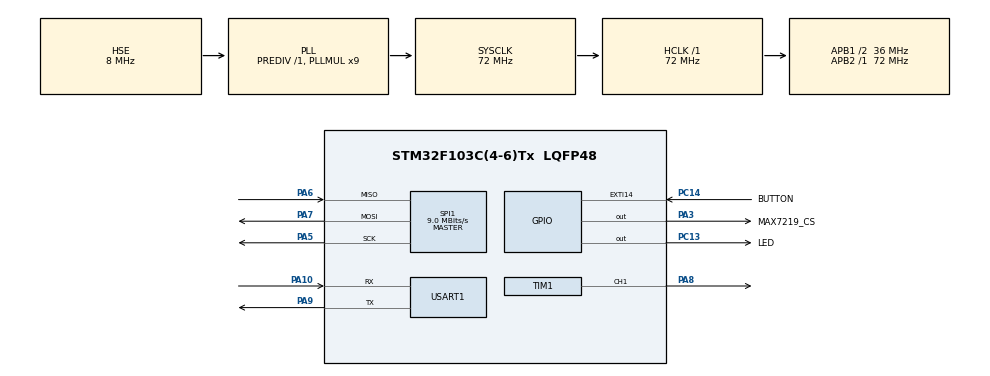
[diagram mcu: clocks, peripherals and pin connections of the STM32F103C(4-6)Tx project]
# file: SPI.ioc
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Mcu.Family=STM32F1
Mcu.Name=STM32F103C(4-6)Tx
Mcu.Package=LQFP48
NVIC.EXTI15_10_IRQn=true\:0\:0\:false\:false\:true\:true\:true\:true
NVIC.PriorityGroup=NVIC_PRIORITYGROUP_4
NVIC.SPI1_IRQn=true\:0\:0\:false\:false\:true\:true\:true\:true
NVIC.TIM1_CC_IRQn=true\:0\:0\:false\:false\:true\:true\:true\:true
NVIC.TIM1_UP_IRQn=true\:0\:0\:false\:false\:true\:true\:true\:true
NVIC.USART1_IRQn=true\:0\:0\:false\:false\:true\:true\:true\:true
PA10.Mode=Asynchronous
PA10.Signal=USART1_RX
PA13.Mode=Trace_Asynchronous_SW
PA13.Signal=SYS_JTMS-SWDIO
PA14.Mode=Trace_Asynchronous_SW
PA14.Signal=SYS_JTCK-SWCLK
PA3.GPIO_Label=MAX7219_CS
PA3.PinState=GPIO_PIN_SET
PA3.Signal=GPIO_Output
PA5.Mode=Full_Duplex_Master
PA5.Signal=SPI1_SCK
PA6.Mode=Full_Duplex_Master
PA6.Signal=SPI1_MISO
PA7.Mode=Full_Duplex_Master
PA7.Signal=SPI1_MOSI
PA8.Signal=S_TIM1_CH1
PA9.Mode=Asynchronous
PA9.Signal=USART1_TX
PB3.Mode=Trace_Asynchronous_SW
PB3.Signal=SYS_JTDO-TRACESWO
PC13-TAMPER-RTC.GPIO_Label=LED
PC13-TAMPER-RTC.Signal=GPIO_Output
PC14-OSC32_IN.GPIO_Label=BUTTON
PC14-OSC32_IN.GPIO_ModeDefaultEXTI=GPIO_MODE_IT_FALLING
PC14-OSC32_IN.GPIO_PuPd=GPIO_PULLUP
PC14-OSC32_IN.Signal=GPXTI14
PD0-OSC_IN.Mode=HSE-External-Oscillator
PD0-OSC_IN.Signal=RCC_OSC_IN
PD1-OSC_OUT.Mode=HSE-External-Oscillator
PD1-OSC_OUT.Signal=RCC_OSC_OUT
ProjectManager.HeapSize=0x200
ProjectManager.StackSize=0x400
ProjectManager.TargetToolchain=STM32CubeIDE
RCC.AHBFreq_Value=72000000
RCC.APB1CLKDivider=RCC_HCLK_DIV2
RCC.APB1Freq_Value=36000000
RCC.APB1TimFreq_Value=72000000
RCC.APB2Freq_Value=72000000
RCC.APB2TimFreq_Value=72000000
RCC.HCLKFreq_Value=72000000
RCC.PLLMUL=RCC_PLL_MUL9
RCC.PLLSourceVirtual=RCC_PLLSOURCE_HSE
RCC.RCC_MCOSource=RCC_MCO1SOURCE_PLLCLK
RCC.SYSCLKFreq_VALUE=72000000
RCC.SYSCLKSource=RCC_SYSCLKSOURCE_PLLCLK
RCC.USBFreq_Value=72000000
SH.S_TIM1_CH1.0=TIM1_CH1,PWM Generation1 CH1
SPI1.BaudRatePrescaler=SPI_BAUDRATEPRESCALER_8
SPI1.CalculateBaudRate=9.0 MBits/s
SPI1.Direction=SPI_DIRECTION_2LINES
SPI1.Mode=SPI_MODE_MASTER
SPI1.VirtualType=VM_MASTER
TIM1.Channel-PWM\ Generation1\ CH1=TIM_CHANNEL_1
TIM1.Period=10000
TIM1.Prescaler=7200
TIM1.Pulse-PWM\ Generation1\ CH1=25000
USART1.VirtualMode=VM_ASYNC
VP_TIM1_VS_ClockSourceINT.Mode=Internal
board=custom

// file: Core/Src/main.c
/* USER CODE BEGIN Header */
/**
  ******************************************************************************
  * @file           : main.c
  * @brief          : Main program body
  ******************************************************************************
  * @attention
  *
  * Copyright (c) 2025 STMicroelectronics.
  * All rights reserved.
  *
  * This software is licensed under terms that can be found in the LICENSE file
  * in the root directory of this software component.
  * If no LICENSE file comes with this software, it is provided AS-IS.
  *
  ******************************************************************************
  */
/* USER CODE END Header */
#include "main.h"
#include "spi.h"
#include "tim.h"
#include "usart.h"
#include "gpio.h"

/* USER CODE BEGIN Includes */
typedef enum {
REG_NO_OP
= 0x00,
REG_DIGIT_0
= 0x01,
REG_DIGIT_1
= 0x02,
REG_DIGIT_2
= 0x03,
REG_DIGIT_3
= 0x04,
REG_DIGIT_4
= 0x05,
REG_DIGIT_5
= 0x06,
REG_DIGIT_6
= 0x07,
REG_DIGIT_7
= 0x08,
REG_DECODE_MODE = 0x09,
REG_INTENSITY
= 0x0A,
REG_SCAN_LIMIT
= 0x0B,
REG_SHUTDOWN
= 0x0C,
REG_DISPLAY_TEST = 0x0F,
} MAX7219_REGISTERS;
/* USER CODE END Includes */

void SystemClock_Config(void);
/* USER CODE BEGIN PFP */

uint8_t led_state = 0;
int k = 0;

const uint8_t digit_0 [8] =
{

		  0b00111100,
		  0b01000010,
		  0b01000010,
		  0b01000010,
		  0b01000010,
		  0b01000010,
		  0b01000010,
		  0b00111100
};

const uint8_t digit_1 [8] =
{
  0b00001000,
  0b00011000,
  0b00101000,
  0b00001000,
  0b00001000,
  0b00001000,
  0b00001000,
  0b00001000
};

const uint8_t digit_2 [8] =
{
  0b00011000,
  0b00100100,
  0b00001000,
  0b00010000,
  0b00100000,
  0b00100000,
  0b00100000,
  0b00111100
};

const uint8_t digit_3 [8] =
{
  0b00011000,
  0b00100100,
  0b00001000,
  0b00010000,
  0b00001000,
  0b00100100,
  0b00011000,
  0b00000000
};

const uint8_t digit_4 [8] =
{
  0b00100000,
  0b00100100,
  0b00100100,
  0b00111100,
  0b00000100,
  0b00000100,
  0b00000100,
  0b00000100
};

const uint8_t digit_5 [8] =
{
  0b00111100,
  0b00100000,
  0b00100000,
  0b00111000,
  0b00000100,
  0b00000100,
  0b00111000,
  0b00000000
};

const uint8_t digit_6 [8] =
{
  0b00011000,
  0b00100100,
  0b00100000,
  0b00111000,
  0b00100100,
  0b00100100,
  0b00100100,
  0b00011000
};

const uint8_t digit_7 [8] =
{
  0b00111100,
  0b00000100,
  0b00001000,
  0b00010000,
  0b00010000,
  0b00010000,
  0b00010000,
  0b00000000
};

const uint8_t digit_8 [8] =
{
  0b00011000,
  0b00100100,
  0b00100100,
  0b00011000,
  0b00100100,
  0b00100100,
  0b00011000,
  0b00000000
};

const uint8_t digit_9 [8] =
{
  0b00011000,
  0b00100100,
  0b00100100,
  0b00011100,
  0b00000100,
  0b00100100,
  0b00011000,
  0b00000000
};

void max7219_SendData(uint8_t addr, uint8_t data)
{
	HAL_GPIO_WritePin(MAX7219_CS_GPIO_Port, MAX7219_CS_Pin, GPIO_PIN_RESET);
	HAL_SPI_Transmit_IT(&hspi1,&addr, 1);
	HAL_SPI_Transmit_IT(&hspi1, &data, 1);
	HAL_GPIO_WritePin(MAX7219_CS_GPIO_Port, MAX7219_CS_Pin, GPIO_PIN_SET);
}

void HAL_GPIO_EXTI_Callback(uint16_t GPIO_Pin);

// Пример: переключение светодиода
void clear()
{
	for (int i = 0; i < 8; i++){
		  max7219_SendData(i+1, 0x00);
	}
}
void max7219_DisplayDigit(uint8_t digit)
{
	switch(digit){

	case 0:
			for (uint8_t row = 0; row < 8; row++)
				max7219_SendData(row+1, digit_0[row]);
			return;
	case 1:
			for (uint8_t row = 0; row < 8; row++)
				max7219_SendData(row+1, digit_1[row]);
			return;
	case 2:
				for (uint8_t row = 0; row < 8; row++)
					max7219_SendData(row+1, digit_2[row]);
				return;
	case 3:
			for (uint8_t row = 0; row < 8; row++)
				max7219_SendData(row+1, digit_3[row]);
			return;
	case 4:
				for (uint8_t row = 0; row < 8; row++)
					max7219_SendData(row+1, digit_4[row]);
				return;
	case 5:
				for (uint8_t row = 0; row < 8; row++)
					max7219_SendData(row+1, digit_5[row]);
				return;
	case 6:
				for (uint8_t row = 0; row < 8; row++)
					max7219_SendData(row+1, digit_6[row]);
				return;
	case 7:
				for (uint8_t row = 0; row < 8; row++)
					max7219_SendData(row+1, digit_7[row]);
				return;
	case 8:
				for (uint8_t row = 0; row < 8; row++)
					max7219_SendData(row+1, digit_8[row]);
				return;
	case 9:
				for (uint8_t row = 0; row < 8; row++)
					max7219_SendData(row+1, digit_9[row]);
				return;

	}
}

/* USER CODE END PFP */

/* USER CODE BEGIN 0 */
uint8_t MAX7219_INIT()
{
	max7219_SendData(REG_SCAN_LIMIT, 0x07); // limit off
	max7219_SendData(REG_DECODE_MODE, 0x00); // встроенный режим декодирования вкл
	max7219_SendData(REG_SHUTDOWN, 0x01);
	//max7219_SendData(REG_INTENSITY, 0x00);
}
/* USER CODE END 0 */

int main(void)
{

  /* MCU Configuration--------------------------------------------------------*/

  /* Reset of all peripherals, Initializes the Flash interface and the Systick. */
  HAL_Init();

  /* Configure the system clock */
  SystemClock_Config();

  /* Initialize all configured peripherals */
  MX_GPIO_Init();
  MX_TIM1_Init();
  MX_USART1_UART_Init();
  MX_SPI1_Init();
  /* USER CODE BEGIN 2 */
  MAX7219_INIT();
  clear();
  //HAL_Delay(1000);

  /* USER CODE END 2 */

  /* Infinite loop */
  /* USER CODE BEGIN WHILE */
  while (1)
  {
	  max7219_DisplayDigit(k);

  }
    /* USER CODE END WHILE */

}

void SystemClock_Config(void)
{
  RCC_OscInitTypeDef RCC_OscInitStruct = {0};
  RCC_ClkInitTypeDef RCC_ClkInitStruct = {0};

  /** Initializes the RCC Oscillators according to the specified parameters
  * in the RCC_OscInitTypeDef structure.
  */
  RCC_OscInitStruct.OscillatorType = RCC_OSCILLATORTYPE_HSE;
  RCC_OscInitStruct.HSEState = RCC_HSE_ON;
  RCC_OscInitStruct.HSEPredivValue = RCC_HSE_PREDIV_DIV1;
  RCC_OscInitStruct.HSIState = RCC_HSI_ON;
  RCC_OscInitStruct.PLL.PLLState = RCC_PLL_ON;
  RCC_OscInitStruct.PLL.PLLSource = RCC_PLLSOURCE_HSE;
  RCC_OscInitStruct.PLL.PLLMUL = RCC_PLL_MUL9;
  if (HAL_RCC_OscConfig(&RCC_OscInitStruct) != HAL_OK)
  {
    Error_Handler();
  }

  /** Initializes the CPU, AHB and APB buses clocks
  */
  RCC_ClkInitStruct.ClockType = RCC_CLOCKTYPE_HCLK|RCC_CLOCKTYPE_SYSCLK
                              |RCC_CLOCKTYPE_PCLK1|RCC_CLOCKTYPE_PCLK2;
  RCC_ClkInitStruct.SYSCLKSource = RCC_SYSCLKSOURCE_PLLCLK;
  RCC_ClkInitStruct.AHBCLKDivider = RCC_SYSCLK_DIV1;
  RCC_ClkInitStruct.APB1CLKDivider = RCC_HCLK_DIV2;
  RCC_ClkInitStruct.APB2CLKDivider = RCC_HCLK_DIV1;

  if (HAL_RCC_ClockConfig(&RCC_ClkInitStruct, FLASH_LATENCY_2) != HAL_OK)
  {
    Error_Handler();
  }
}

/* USER CODE BEGIN 4 */

void HAL_GPIO_EXTI_Callback(uint16_t GPIO_Pin) {
    static uint32_t last_interrupt_time = 0;
    uint32_t current_time = HAL_GetTick();
    uint32_t debounce_delay = 500; // Adjust this value as needed

    if (GPIO_Pin == BUTTON_Pin) {
        if ((current_time - last_interrupt_time) > debounce_delay) {

            led_state = !led_state;
            HAL_GPIO_WritePin(GPIOC, LED_Pin, led_state ? GPIO_PIN_SET : GPIO_PIN_RESET);

            if (k < 9)
                k++;
            else
                k = 0;

            last_interrupt_time = current_time;
        }
    }
}
/* USER CODE END 4 */

void Error_Handler(void)
{
  __disable_irq();
  while (1)
  {
  }
}
